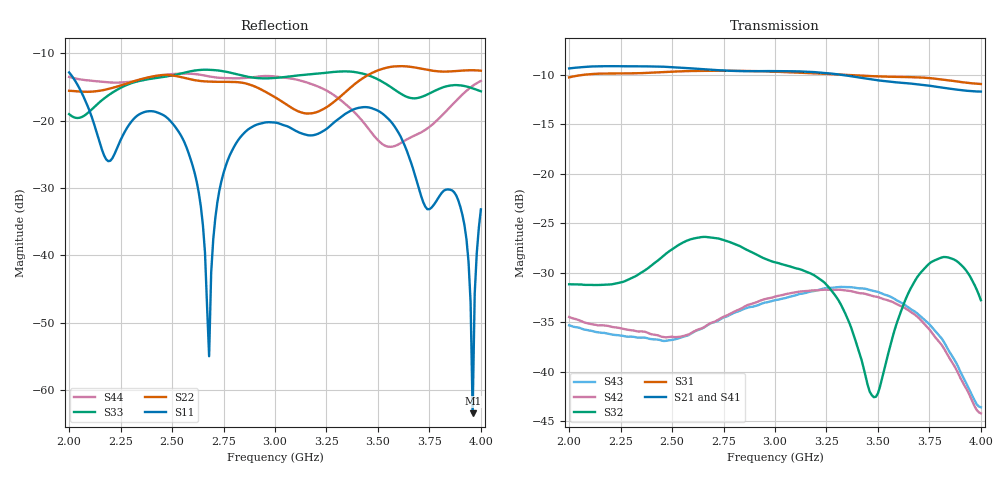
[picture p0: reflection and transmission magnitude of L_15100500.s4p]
!Agilent Technologies,N5224A,MY51441093,A.09.90.21
!Agilent N5224A: A.09.90.21
!Date: Friday, December 19, 2025 16:38:39
!Correction: S11(Full 4 Port(1,2,3,4))
!S12(Full 4 Port(1,2,3,4))
!S13(Full 4 Port(1,2,3,4))
!S14(Full 4 Port(1,2,3,4))
!S21(Full 4 Port(1,2,3,4))
!S22(Full 4 Port(1,2,3,4))
!S23(Full 4 Port(1,2,3,4))
!S24(Full 4 Port(1,2,3,4))
!S31(Full 4 Port(1,2,3,4))
!S32(Full 4 Port(1,2,3,4))
!S33(Full 4 Port(1,2,3,4))
!S34(Full 4 Port(1,2,3,4))
!S41(Full 4 Port(1,2,3,4))
!S42(Full 4 Port(1,2,3,4))
!S43(Full 4 Port(1,2,3,4))
!S44(Full 4 Port(1,2,3,4))
!S4P File: Measurements: <S11,S12,S13,S14>,
!<S21,S22,S23,S24>,
!<S31,S32,S33,S34>,
!<S41,S42,S43,S44>:
# Hz S  dB  R 50
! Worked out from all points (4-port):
!   201 points, 2 GHz to 4 GHz, reference 50 ohm
!   strongest paths, dB at 2 GHz, 2.5 GHz, 3 GHz, 3.5 GHz, 4 GHz:
!     S21: -9.4, -9.2, -9.6, -10.6, -11.7
!     S31: -10.3, -9.7, -9.7, -10.2, -10.9
!     S41: -9.2, -9.2, -10.0, -10.4, -11.5
!     S32: -31.2, -27.6, -29.0, -42.2, -32.8
!     S42: -34.5, -36.5, -32.4, -32.5, -44.2
!     S43: -35.3, -36.8, -32.8, -31.9, -43.6
!   lowest |S11| = -63.5 dB at 3.96 GHz (marker M1), VSWR 1.00, Z = 50.1 + j0.00486 ohm
!   |S11| at or under -10 dB: start of sweep to end of sweep
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2e9  -12.85 -57.8  -9.35 -40.4  -10.22 74.8  -9.32 168.8
     -9.37 -40.5  -15.57 -125.7  -31.13 -153.3  -34.61 -42.6
     -10.28 74.9  -31.18 -153.1  -19.04 67.3  -35.50 72.9
     -9.21 169.0  -34.49 -42.3  -35.32 72.9  -13.52 -49.6
2.68e9  -54.98 18.0  -9.47 -37.7  -9.54 71.1  -9.51 -173.1
        -9.49 -37.7  -14.21 152.2  -26.39 87.0  -35.30 33.3
        -9.61 71.2  -26.43 87.2  -12.46 173.4  -35.38 143.2
        -9.39 -173.0  -35.18 33.4  -35.22 143.3  -13.44 152.9
2.82e9  -22.94 -11.5  -9.60 -107.5  -9.54 0.3  -9.70 116.8
        -9.63 -107.7  -14.30 133.7  -27.19 2.9  -33.90 -85.8
        -9.61 0.3  -27.24 3.1  -13.16 146.7  -34.08 23.3
        -9.61 116.9  -33.77 -85.6  -33.92 23.3  -13.72 127.0
3.53e9  -19.16 -140.9  -10.64 -103.8  -10.11 11.7  -10.54 123.2
        -10.65 -103.8  -12.24 87.4  -39.77 95.7  -32.76 10.7
        -10.19 12.0  -39.85 96.0  -14.38 44.6  -32.34 127.8
        -10.48 123.4  -32.70 11.0  -32.21 127.8  -23.65 -124.5
3.9e9  -32.78 -78.5  -11.52 74.6  -10.64 -168.0  -11.30 -63.9
       -11.55 74.7  -12.58 25.7  -29.08 -99.0  -40.68 17.4
       -10.73 -167.5  -29.14 -98.7  -14.77 21.6  -40.11 135.1
       -11.27 -63.3  -40.63 17.8  -39.99 135.1  -16.43 97.2
3.96e9  -63.46 4.1  -11.65 45.6  -10.79 163.5  -11.49 -93.6
        -11.68 45.8  -12.52 14.2  -30.81 -134.7  -43.15 -54.6
        -10.88 164.0  -30.87 -134.3  -15.21 13.7  -42.65 62.9
        -11.45 -93.0  -43.07 -54.2  -42.52 63.1  -14.84 82.1
4e9  -33.18 50.0  -11.67 26.3  -10.85 144.5  -11.57 -113.4
     -11.71 26.5  -12.59 5.2  -32.73 -156.7  -44.27 -108.2
     -10.94 145.1  -32.79 -156.3  -15.65 10.3  -43.69 8.6
     -11.54 -112.7  -44.22 -107.6  -43.61 8.7  -14.11 71.3
